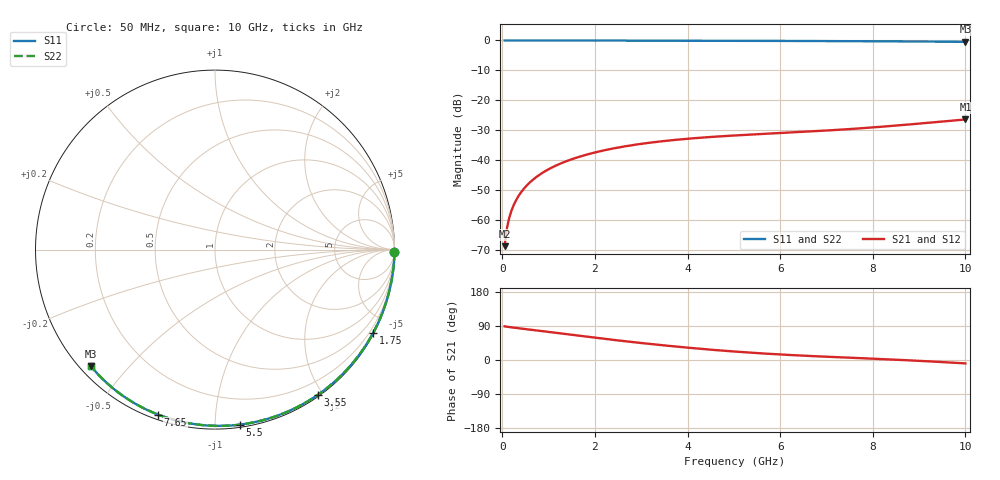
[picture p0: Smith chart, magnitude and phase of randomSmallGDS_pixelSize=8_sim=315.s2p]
! freq	dB(S11)	phase(S11)	dB(S12)	phase(S12)
!  dB(S21)	phase(S21)	dB(S22)	phase(S22)
!S-par simulation data
#  GHz  S  DB  R 50
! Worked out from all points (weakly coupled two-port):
!   200 points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, 50 MHz to 10 GHz, reference 50 ohm
!   highest |S21| = -26.38 dB at 10 GHz (marker M1); lowest = -68.7 dB at 50 MHz (marker M2)
!   lowest |S11| = -0.5 dB at 10 GHz (marker M3), VSWR 38.29, Z = 1.51 - j19.8 ohm
!   |S11| at or under -10 dB: nowhere
!   |S22| runs from -0.5 to 0.0 dB; largest |S21 - S12| = 0
!   S11 on the Smith chart (normalised r, x): 50 MHz: open; 1.75 GHz: 0.04, -4.05; 3.55 GHz: 0.02, -1.93; 5.5 GHz: 0.02, -1.15; 7.65 GHz: 0.02, -0.71; 10 GHz: 0.03, -0.40
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0.05  -0.00 -0.8  -68.69 88.8  -68.69 88.8  -0.00 -0.8
0.1  -0.00 -1.6  -62.71 87.8  -62.71 87.8  -0.00 -1.6
0.15  -0.00 -2.4  -59.22 86.9  -59.22 86.9  -0.00 -2.4
0.2  -0.00 -3.2  -56.76 86.1  -56.76 86.1  -0.00 -3.2
0.25  -0.00 -4.0  -54.84 85.3  -54.84 85.3  -0.00 -4.0
0.35  -0.00 -5.6  -51.96 83.8  -51.96 83.8  -0.00 -5.6
0.5  -0.01 -8.0  -48.90 81.6  -48.90 81.6  -0.01 -8.0
0.7  -0.01 -11.2  -46.02 78.5  -46.02 78.5  -0.01 -11.2
1  -0.02 -16.0  -43.00 73.9  -43.00 73.9  -0.02 -16.0
1.35  -0.03 -21.5  -40.52 68.5  -40.52 68.5  -0.03 -21.5
1.75  -0.04 -27.7  -38.44 62.5  -38.44 62.5  -0.04 -27.7
2.5  -0.05 -39.2  -35.76 51.7  -35.76 51.7  -0.05 -39.2
3.4  -0.07 -52.6  -33.74 39.7  -33.74 39.7  -0.07 -52.6
3.55  -0.07 -54.8  -33.49 37.9  -33.49 37.9  -0.07 -54.8
4.3  -0.09 -65.5  -32.45 29.3  -32.45 29.3  -0.09 -65.5
5.05  -0.12 -75.8  -31.70 22.0  -31.70 22.0  -0.12 -75.8
5.5  -0.13 -81.9  -31.32 18.3  -31.32 18.3  -0.13 -81.9
6.7  -0.19 -97.3  -30.35 10.3  -30.35 10.3  -0.19 -97.4
7.65  -0.24 -109.0  -29.43 5.3  -29.43 5.3  -0.24 -109.1
8.35  -0.30 -117.4  -28.61 1.6  -28.61 1.6  -0.30 -117.5
9.2  -0.37 -127.4  -27.49 -3.5  -27.49 -3.5  -0.37 -127.4
10  -0.45 -136.7  -26.38 -9.0  -26.38 -9.0  -0.45 -136.7
